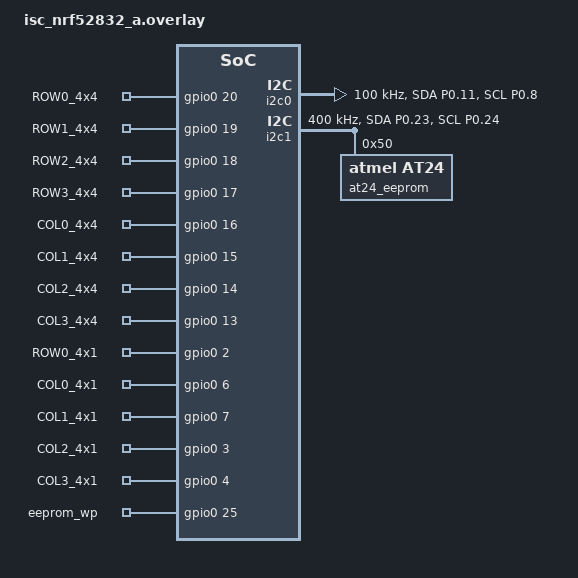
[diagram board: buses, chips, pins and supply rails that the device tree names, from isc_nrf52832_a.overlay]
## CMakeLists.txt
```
cmake_minimum_required(VERSION 3.20.0)
find_package(Zephyr REQUIRED HINTS $ENV{ZEPHYR_BASE})

project(LCD_1602)

target_sources(app PRIVATE
    src/main.c
    library/ble_data_process.c
    library/ble_handler.c
    library/custom_service.c
    library/functionality.c
    library/i2c-lcd.c
    library/eeprom_at24.c
    library/keypad_driver.c
)

target_include_directories(app PRIVATE library)
```

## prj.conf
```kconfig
CONFIG_GPIO=y
CONFIG_PINCTRL=y
CONFIG_CONSOLE=n
CONFIG_SERIAL=n
CONFIG_UART_CONSOLE=n
CONFIG_UART_ASYNC_API=n
CONFIG_PRINTK=y
CONFIG_I2C=y
CONFIG_FPU=y
CONFIG_USE_SEGGER_RTT=y
CONFIG_LOG=y

CONFIG_BT=y
CONFIG_BT_PERIPHERAL=y
CONFIG_BT_DEVICE_NAME="Digital Answer Sheet"
CONFIG_BT_DIS=y

CONFIG_BT_DIS_MODEL="DIGITAL ANSWER SHEET"
CONFIG_BT_DIS_MANUF="INDIESEMIC"
CONFIG_BT_DIS_SERIAL_NUMBER=y
CONFIG_BT_DIS_FW_REV=y
CONFIG_BT_DIS_HW_REV=y
CONFIG_BT_DIS_SERIAL_NUMBER_STR="ISC-DIGITALEXAM-DEMO"
CONFIG_BT_DIS_FW_REV_STR="v0.0.1"
CONFIG_BT_DIS_HW_REV_STR="v0.0.1"
CONFIG_BT_DIS_PNP=n

CONFIG_BT_SMP=y
CONFIG_SETTINGS=y
CONFIG_BT_SETTINGS=y
CONFIG_BT_FILTER_ACCEPT_LIST=y
CONFIG_BT_PRIVACY=y

CONFIG_BT_RX_STACK_SIZE=2048
CONFIG_SYSTEM_WORKQUEUE_STACK_SIZE=4096
CONFIG_MAIN_STACK_SIZE=4096

CONFIG_CLOCK_CONTROL_NRF_K32SRC_RC=y
```

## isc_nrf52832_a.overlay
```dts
// To get started, press Ctrl+Space to bring up the completion menu and view the available nodes.

// You can also use the buttons in the sidebar to perform actions on nodes.
// Actions currently available include:

// * Enabling / disabling the node
// * Adding the bus to a bus
// * Removing the node
// * Connecting ADC channels

// For more help, browse the DeviceTree documentation at https: //docs.zephyrproject.org/latest/guides/dts/index.html
// You can also visit the nRF DeviceTree extension documentation at https: //nrfconnect.github.io/vscode-nrf-connect/devicetree/nrfdevicetree.html
// #include <zephyr/dt-bindings/input/input-event-codes.h>

/ {

    gpio {
        compatible = "gpio-keys";
        ROW0_4x4: ROW0_4x4 {
            gpios = <&gpio0 20 GPIO_ACTIVE_HIGH>;
        };
        ROW1_4x4: ROW1_4x4 {
            gpios = <&gpio0 19 GPIO_ACTIVE_HIGH>;
        };
        ROW2_4x4: ROW2_4x4 {
            gpios = <&gpio0 18 GPIO_ACTIVE_HIGH>;
        };
        ROW3_4x4: ROW3_4x4 {
            gpios = <&gpio0 17 GPIO_ACTIVE_HIGH>;
        };
        COL0_4x4: COL0_4x4{
            gpios = <&gpio0 16 GPIO_ACTIVE_HIGH>;
        };
        COL1_4x4: COL1_4x4{
            gpios = <&gpio0 15 GPIO_ACTIVE_HIGH>;
        };
        COL2_4x4: COL2_4x4{
            gpios = <&gpio0 14 GPIO_ACTIVE_HIGH>;
        };
        COL3_4x4: COL3_4x4{
            gpios = <&gpio0 13 GPIO_ACTIVE_HIGH>;
        };

        ROW0_4x1: ROW0_4x1{
            gpios = <&gpio0 2 (GPIO_PULL_DOWN | GPIO_ACTIVE_HIGH)>;
        };

        COL0_4x1: COL0_4x1{
            gpios = <&gpio0 6 GPIO_ACTIVE_HIGH>;
        };

        COL1_4x1: COL1_4x1{
            gpios = <&gpio0 7 GPIO_ACTIVE_HIGH>;
        };

        COL2_4x1: COL2_4x1{
            gpios = <&gpio0 3 GPIO_ACTIVE_HIGH>;
        };

        COL3_4x1: COL3_4x1{
            gpios = <&gpio0 4 GPIO_ACTIVE_HIGH>;
        };

        eeprom_wp: eeprom_wp {
            gpios = <&gpio0 25 GPIO_ACTIVE_HIGH>;
        };
    };

    aliases {
        kpd4x4-row0 = &ROW0_4x4;
        kpd4x4-row1 = &ROW1_4x4;
        kpd4x4-row2 = &ROW2_4x4;
        kpd4x4-row3 = &ROW3_4x4;
        kpd4x4-col0 = &COL0_4x4;
        kpd4x4-col1 = &COL1_4x4;
        kpd4x4-col2 = &COL2_4x4;
        kpd4x4-col3 = &COL3_4x4;
        kpd4x1-row0 = &ROW0_4x1;
        kpd4x1-col0 = &COL0_4x1;
        kpd4x1-col1 = &COL1_4x1;
        kpd4x1-col2 = &COL2_4x1;
        kpd4x1-col3 = &COL3_4x1;
        eeprom-wp = &eeprom_wp;
        eeprom-0 = &at24_eeprom;
    };

};

&gpio0 {
    status = "okay";
};

&i2c0 {
    compatible = "nordic,nrf-twim";
    status = "okay";
    pinctrl-0 = <&i2c0_default>;
    pinctrl-names = "default";
    clock-frequency = <I2C_BITRATE_STANDARD>;
};


&pinctrl {
    // compatible = "nordic,nrf-pinctrl";
    i2c0_default: i2c0_default {
        group1 {
            psels = <NRF_PSEL(TWIM_SDA, 0, 11)>, <NRF_PSEL(TWIM_SCL, 0, 8)>;
            bias-pull-up;
        };
    };
    i2c1_default: i2c1_default {
        group1 {
            psels = <NRF_PSEL(TWIM_SDA, 0, 23)>, <NRF_PSEL(TWIM_SCL, 0, 24)>;
            bias-pull-up;
        };
    };
};

&i2c1 {
    compatible = "nordic,nrf-twim";
    status = "okay";
    pinctrl-0 = <&i2c1_default>;
    pinctrl-names = "default";
    clock-frequency = <I2C_BITRATE_FAST>;
    at24_eeprom: eeprom@50 {
        compatible = "atmel,at24";
        status = "okay";
        reg = <0x50>;
        size = <4096>;
        pagesize = <32>;
        address-width = <8>;
        timeout = <5>;
    };
};


// &pinctrl {
//     // compatible = "nordic,nrf-pinctrl";
//     i2c1_default: i2c1_default {
//         group1 {
//             psels = <NRF_PSEL(TWIM_SDA, 0, 23)>, <NRF_PSEL(TWIM_SCL, 0, 24)>;
//             bias-pull-up;
//         };
//     };
// };

&uicr {
    gpio-as-nreset;
};
```

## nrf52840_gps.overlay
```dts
#include <zephyr/dt-bindings/input/input-event-codes.h>

/ {
    chosen {
        zephyr,console = &uart0;
        zephyr,shell-uart = &uart0;
        zephyr,uart-mcumgr = &uart0;

    };

    gpio {
        compatible = "gpio-keys";
        ROW0_4x4: ROW0_4x4 {
            gpios = <&gpio1 1 GPIO_ACTIVE_HIGH>;
        };
        ROW1_4x4: ROW1_4x4 {
            gpios = <&gpio1 2 GPIO_ACTIVE_HIGH>;
        };
        ROW2_4x4: ROW2_4x4 {
            gpios = <&gpio1 3 GPIO_ACTIVE_HIGH>;
        };
        ROW3_4x4: ROW3_4x4 {
            gpios = <&gpio1 4 GPIO_ACTIVE_HIGH>;
        };
        COL0_4x4: COL0_4x4{
            gpios = <&gpio1 5 GPIO_ACTIVE_HIGH>;
        };
        COL1_4x4: COL1_4x4{
            gpios = <&gpio1 6 GPIO_ACTIVE_HIGH>;
        };
        COL2_4x4: COL2_4x4{
            gpios = <&gpio1 7 GPIO_ACTIVE_HIGH>;
        };
        COL3_4x4: COL3_4x4{
            gpios = <&gpio1 8 GPIO_ACTIVE_HIGH>;
        };

        COL0_4x1: COL0_4x1{
            gpios = <&gpio1 10 GPIO_ACTIVE_HIGH>;
        };

        COL1_4x1: COL1_4x1{
            gpios = <&gpio1 11 GPIO_ACTIVE_HIGH>;
        };

        COL2_4x1: COL2_4x1{
            gpios = <&gpio1 12 GPIO_ACTIVE_HIGH>;
        };

        COL3_4x1: COL3_4x1{
            gpios = <&gpio1 13 GPIO_ACTIVE_HIGH>;
        };



    };

    buttons {
		compatible = "gpio-keys";
		button0: button_0 {
			gpios = <&gpio0 11 (GPIO_PULL_UP | GPIO_ACTIVE_LOW)>;
			label = "Push button switch 0";
			zephyr,code = <INPUT_KEY_0>;
		};
		button1: button_1 {
			gpios = <&gpio0 12 (GPIO_PULL_UP | GPIO_ACTIVE_LOW)>;
			label = "Push button switch 1";
			zephyr,code = <INPUT_KEY_1>;
		};
		button2: button_2 {
			gpios = <&gpio0 24 (GPIO_PULL_UP | GPIO_ACTIVE_LOW)>;
			label = "Push button switch 2";
			zephyr,code = <INPUT_KEY_2>;
		};
		button3: button_3 {
			gpios = <&gpio0 25 (GPIO_PULL_UP | GPIO_ACTIVE_LOW)>;
			label = "Push button switch 3";
			zephyr,code = <INPUT_KEY_3>;
		};
	};

    aliases {
        kpd4x4-row0 = &ROW0_4x4;
        kpd4x4-row1 = &ROW1_4x4;
        kpd4x4-row2 = &ROW2_4x4;
        kpd4x4-row3 = &ROW3_4x4;
        kpd4x4-col0 = &COL0_4x4;
        kpd4x4-col1 = &COL1_4x4;
        kpd4x4-col2 = &COL2_4x4;
        kpd4x4-col3 = &COL3_4x4;
        kpd4x1-col0 = &COL0_4x1;
        kpd4x1-col1 = &COL1_4x1;
        kpd4x1-col2 = &COL2_4x1;
        kpd4x1-col3 = &COL3_4x1;
        sw0 = &button0;
		sw1 = &button1;
		sw2 = &button2;
		sw3 = &button3;
    };

};

&gpio0 {
    status = "okay";
};

&gpio1 {
    status = "okay";
};

&uart0 {
    status = "okay";
    current-speed = <115200>;
    pinctrl-0 = <&uart0_default>;
    pinctrl-names = "default";
};

&pinctrl {
    uart0_default: uart0_default {
        group1 {
            psels = <NRF_PSEL(UART_TX, 0, 6)>, <NRF_PSEL(UART_RX, 0, 8)>;
        };
    };
};


&i2c0 {
    compatible = "nordic,nrf-twim";
    status = "okay";
    pinctrl-0 = <&i2c0_default>;
    pinctrl-names = "default";
};


&pinctrl {
    compatible = "nordic,nrf-pinctrl";
    i2c0_default: i2c0_default {
        group1 {
            psels = <NRF_PSEL(TWIM_SDA, 0, 26)>, <NRF_PSEL(TWIM_SCL, 0, 27)>;
        };
    };
};

&i2c1 {
    compatible = "nordic,nrf-twim";
    status = "okay";
    pinctrl-0 = <&i2c1_default>;
    pinctrl-names = "default";
};


&pinctrl {
    compatible = "nordic,nrf-pinctrl";
    i2c1_default: i2c1_default {
        group1 {
            psels = <NRF_PSEL(TWIM_SDA, 0, 23)>, <NRF_PSEL(TWIM_SCL, 0, 24)>;
            bias-pull-up;
        };
    };
};
```

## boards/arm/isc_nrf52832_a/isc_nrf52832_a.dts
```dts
// Copyright (c) 2024 Nordic Semiconductor ASA
// SPDX-License-Identifier: Apache-2.0

/dts-v1/;
#include <nordic/nrf52832_qfaa.dtsi>

/ {
	model = "ISC-NRF52832-A";
	compatible = "indiesemic-pvt-ltd-,isc-nrf52832-a";

	chosen {
		zephyr,sram = &sram0;
		zephyr,flash = &flash0;
		zephyr,code-partition = &slot0_partition;
	};
};

&flash0 {
	partitions {
		compatible = "fixed-partitions";
		#address-cells = <1>;
		#size-cells = <1>;

		boot_partition: partition@0 {
			label = "mcuboot";
			reg = <0x0 0xc000>;
		};
		slot0_partition: partition@c000 {
			label = "image-0";
			reg = <0xc000 0x32000>;
		};
		slot1_partition: partition@3e000 {
			label = "image-1";
			reg = <0x3e000 0x32000>;
		};
		scratch_partition: partition@70000 {
			label = "image-scratch";
			reg = <0x70000 0xa000>;
		};
		storage_partition: partition@7a000 {
			label = "storage";
			reg = <0x7a000 0x6000>;
		};
	};
};
```

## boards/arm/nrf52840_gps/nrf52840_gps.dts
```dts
// Copyright (c) 2024 Nordic Semiconductor ASA
// SPDX-License-Identifier: Apache-2.0

/dts-v1/;
#include <nordic/nrf52840_qiaa.dtsi>

/ {
	model = "nRF52840_gps";
	compatible = "indiesemic-pvt-ltd,nrf52840-gps";

	chosen {
		zephyr,sram = &sram0;
		zephyr,flash = &flash0;
		zephyr,code-partition = &slot0_partition;
	};
};

&flash0 {
	partitions {
		compatible = "fixed-partitions";
		#address-cells = <1>;
		#size-cells = <1>;

		boot_partition: partition@0 {
			label = "mcuboot";
			reg = <0x0 0xc000>;
		};
		slot0_partition: partition@c000 {
			label = "image-0";
			reg = <0xc000 0x72000>;
		};
		slot1_partition: partition@7e000 {
			label = "image-1";
			reg = <0x7e000 0x72000>;
		};
		scratch_partition: partition@f0000 {
			label = "image-scratch";
			reg = <0xf0000 0xa000>;
		};
		storage_partition: partition@fa000 {
			label = "storage";
			reg = <0xfa000 0x6000>;
		};
	};
};
```

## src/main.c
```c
/* Zephyr Includes */
#include <zephyr/kernel.h>
#include <zephyr/device.h>
#include <zephyr/devicetree.h>
#include <zephyr/drivers/i2c.h>
#include <zephyr/sys/printk.h>
#include <zephyr/drivers/gpio.h>

/* Custom Includes */
#include "i2c-lcd.h"
#include "keypad_driver.h"
#include "functionality.h"
#include "glob_var.h"
#include "ble_handler.h"
#include "errno.h"
#include "eeprom_at24.h"

/* C standard Includes */
#include <stdio.h>
#include <stdlib.h>
#include <string.h>

struct student_credentials student;
unsigned int STATES;

int main(void)
{
	printk("The I2C 16x2 display and 4x4 matrix keypad\n");

	if (!device_is_ready(i2c_dev))
	{
		printk("I2C device is not ready\r\n");
		return 0;
	}

	if (!device_is_ready(R0_4x4.port))
	{
		printk("GPIO device is not ready\r\n");
		return 1;
	}

	// ble_init();
	// start_ble();
	GPIO_config();
	eeprom_init();
	STATES = STATE_START_APP;

	while (true)
	{
		switch (STATES)
		{
		case STATE_START_APP:
			lcd_init();
			lcd_clear();
			k_sleep(K_MSEC(1000));
			lcd_clear();
			welcome_notes();
			break;
		case STATE_ASK_ROLL_NO:
			enter_roll_number();
			break;
		case STATE_CONFIRM_ROLL_NO:
			confirm_credentials(&student);
			break;
		case STATE_ENTER_SUB_CODE:
			enter_subject_code();
			break;
		case STATE_CONFIRM_SUB_CODE:
			confirm_subject_code(&student);
			break;
		case STATE_ENTER_CENTER_NO:
			enter_center_number();
			break;
		case STATE_CONFIRM_CENTER_NO:
			confirm_center_number(&student);
			break;
		case STATE_ASK_PAPER_CODE:
			enter_paper_code();
			break;
		case STATE_CONFIRM_PAPER_CODE:
			confirm_paper_code(&student);
			break;
		case STATE_LCD_QUE_SETUP:
			setup_for_que(student);
			que_ans();
			break;
		case STATE_SETUP_NEXT_QUE:
			setup_for_que(student);
			que_ans();
			break;
		case STATE_VERIFY:
			verify_paper();
			break;
		case STATE_CONFIRM_SUBMIT:
			confirm_submission();
			break;
		case STATE_SUBMIT:
			submit_paper();
			break;
		case STATE_IDLE:
			k_sleep(K_MSEC(5000));
			break;

		/** @category INVALID STATES */
		case STATE_INVALID_ENROLLMENT:
			invalid_enrollment();
			break;
		case STATE_INVALID_SUBJECT_CODE:
			invalid_subject_code();
			break;
		case STATE_INVALID_CENTER_CODE:
			invalid_center_number();
			break;
		default:
			break;
		}
		k_sleep(K_MSEC(500));
	}
}
```
